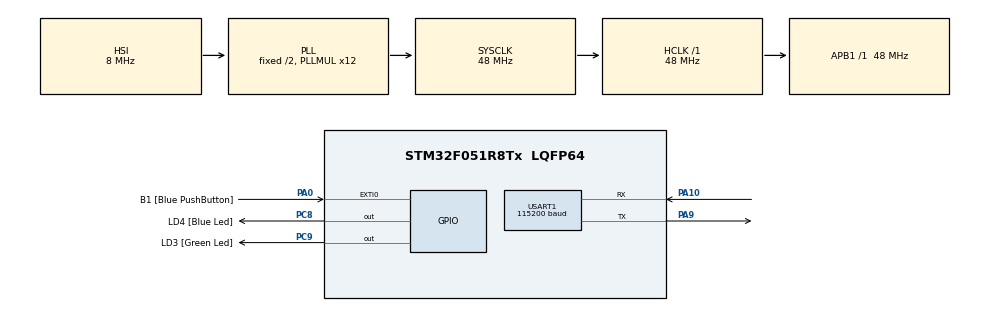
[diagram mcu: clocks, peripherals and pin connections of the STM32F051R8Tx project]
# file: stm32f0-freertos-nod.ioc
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FREERTOS.Mutexes01=UartMutex,Dynamic,NULL,Available
FREERTOS.Queues01=ButtonQueue,4,uint8_t,0,Dynamic,NULL,NULL
FREERTOS.Tasks01=BlueTask,24,128,StartBlueTask,Default,NULL,Dynamic,NULL,NULL;GreenTask,24,128,StartGreenTask,Default,NULL,Dynamic,NULL,NULL;ButtonTask,32,128,StartButtonTask,Default,NULL,Dynamic,NULL,NULL
FREERTOS.configTOTAL_HEAP_SIZE=3000
Mcu.Family=STM32F0
Mcu.Name=STM32F051R8Tx
Mcu.Package=LQFP64
NVIC.TIM14_IRQn=true\:3\:0\:false\:false\:true\:false\:false\:true\:true
NVIC.TimeBase=TIM14_IRQn
NVIC.TimeBaseIP=TIM14
PA0.GPIO_Label=B1 [Blue PushButton]
PA0.GPIO_ModeDefaultEXTI=GPIO_MODE_EVT_RISING
PA0.Signal=GPXTI0
PA10.Mode=Asynchronous
PA10.Signal=USART1_RX
PA13.GPIO_Label=SWDIO
PA13.Mode=Serial_Wire
PA13.Signal=SYS_SWDIO
PA14.GPIO_Label=SWCLK
PA14.Mode=Serial_Wire
PA14.Signal=SYS_SWCLK
PA9.Mode=Asynchronous
PA9.Signal=USART1_TX
PC8.GPIO_Label=LD4 [Blue Led]
PC8.Signal=GPIO_Output
PC9.GPIO_Label=LD3 [Green Led]
PC9.Signal=GPIO_Output
ProjectManager.HeapSize=0x100
ProjectManager.StackSize=0x400
ProjectManager.TargetToolchain=STM32CubeIDE
RCC.AHBFreq_Value=48000000
RCC.APB1Freq_Value=48000000
RCC.APB1TimFreq_Value=48000000
RCC.HCLKFreq_Value=48000000
RCC.PLLMUL=RCC_PLL_MUL12
RCC.SYSCLKFreq_VALUE=48000000
RCC.SYSCLKSource=RCC_SYSCLKSOURCE_PLLCLK
USART1.BaudRate=115200
USART1.VirtualMode-Asynchronous=VM_ASYNC
VP_FREERTOS_VS_CMSIS_V2.Mode=CMSIS_V2
VP_SYS_VS_tim14.Mode=TIM14
board=STM32F0DISCOVERY

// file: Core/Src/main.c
/* USER CODE BEGIN Header */
/**
  ******************************************************************************
  * @file           : main.c
  * @brief          : Main program body
  ******************************************************************************
  * @attention
  *
  * Copyright (c) 2026 STMicroelectronics.
  * All rights reserved.
  *
  * This software is licensed under terms that can be found in the LICENSE file
  * in the root directory of this software component.
  * If no LICENSE file comes with this software, it is provided AS-IS.
  *
  ******************************************************************************
  */
/* USER CODE END Header */
#include "main.h"
#include "cmsis_os.h"

/* USER CODE BEGIN Includes */
#include <string.h>
/* USER CODE END Includes */

UART_HandleTypeDef huart1;

/* Definitions for BlueTask */
osThreadId_t BlueTaskHandle;
const osThreadAttr_t BlueTask_attributes = {
  .name = "BlueTask",
  .stack_size = 128 * 4,
  .priority = (osPriority_t) osPriorityNormal,
};
/* Definitions for GreenTask */
osThreadId_t GreenTaskHandle;
const osThreadAttr_t GreenTask_attributes = {
  .name = "GreenTask",
  .stack_size = 128 * 4,
  .priority = (osPriority_t) osPriorityNormal,
};
/* Definitions for ButtonTask */
osThreadId_t ButtonTaskHandle;
const osThreadAttr_t ButtonTask_attributes = {
  .name = "ButtonTask",
  .stack_size = 128 * 4,
  .priority = (osPriority_t) osPriorityAboveNormal,
};
/* Definitions for ButtonQueue */
osMessageQueueId_t ButtonQueueHandle;
const osMessageQueueAttr_t ButtonQueue_attributes = {
  .name = "ButtonQueue"
};
/* Definitions for UartMutex */
osMutexId_t UartMutexHandle;
const osMutexAttr_t UartMutex_attributes = {
  .name = "UartMutex"
};

void SystemClock_Config(void);
static void MX_GPIO_Init(void);
static void MX_USART1_UART_Init(void);
void StartBlueTask(void *argument);
void StartGreenTask(void *argument);
void StartButtonTask(void *argument);

/* USER CODE BEGIN 0 */
void log_msg(const char *text)
{
  osMutexAcquire(UartMutexHandle, osWaitForever);   // anahtarı al
  HAL_UART_Transmit(&huart1, (uint8_t *)text, strlen(text), 100);
  osMutexRelease(UartMutexHandle);                  // anahtarı geri ver
}
/* USER CODE END 0 */

int main(void)
{

  /* MCU Configuration--------------------------------------------------------*/

  /* Reset of all peripherals, Initializes the Flash interface and the Systick. */
  HAL_Init();

  /* Configure the system clock */
  SystemClock_Config();

  /* Initialize all configured peripherals */
  MX_GPIO_Init();
  MX_USART1_UART_Init();

  /* Init scheduler */
  osKernelInitialize();
  /* Create the mutex(es) */
  /* creation of UartMutex */
  UartMutexHandle = osMutexNew(&UartMutex_attributes);

  /* Create the queue(s) */
  /* creation of ButtonQueue */
  ButtonQueueHandle = osMessageQueueNew (4, sizeof(uint8_t), &ButtonQueue_attributes);

  /* Create the thread(s) */
  /* creation of BlueTask */
  BlueTaskHandle = osThreadNew(StartBlueTask, NULL, &BlueTask_attributes);

  /* creation of GreenTask */
  GreenTaskHandle = osThreadNew(StartGreenTask, NULL, &GreenTask_attributes);

  /* creation of ButtonTask */
  ButtonTaskHandle = osThreadNew(StartButtonTask, NULL, &ButtonTask_attributes);

  /* Start scheduler */
  osKernelStart();

  /* We should never get here as control is now taken by the scheduler */

  /* Infinite loop */
  while (1)
  {

  }
}

void SystemClock_Config(void)
{
  RCC_OscInitTypeDef RCC_OscInitStruct = {0};
  RCC_ClkInitTypeDef RCC_ClkInitStruct = {0};
  RCC_PeriphCLKInitTypeDef PeriphClkInit = {0};

  /** Initializes the RCC Oscillators according to the specified parameters
  * in the RCC_OscInitTypeDef structure.
  */
  RCC_OscInitStruct.OscillatorType = RCC_OSCILLATORTYPE_HSI;
  RCC_OscInitStruct.HSIState = RCC_HSI_ON;
  RCC_OscInitStruct.HSICalibrationValue = RCC_HSICALIBRATION_DEFAULT;
  RCC_OscInitStruct.PLL.PLLState = RCC_PLL_ON;
  RCC_OscInitStruct.PLL.PLLSource = RCC_PLLSOURCE_HSI;
  RCC_OscInitStruct.PLL.PLLMUL = RCC_PLL_MUL12;
  RCC_OscInitStruct.PLL.PREDIV = RCC_PREDIV_DIV1;
  if (HAL_RCC_OscConfig(&RCC_OscInitStruct) != HAL_OK)
  {
    Error_Handler();
  }

  /** Initializes the CPU, AHB and APB buses clocks
  */
  RCC_ClkInitStruct.ClockType = RCC_CLOCKTYPE_HCLK|RCC_CLOCKTYPE_SYSCLK
                              |RCC_CLOCKTYPE_PCLK1;
  RCC_ClkInitStruct.SYSCLKSource = RCC_SYSCLKSOURCE_PLLCLK;
  RCC_ClkInitStruct.AHBCLKDivider = RCC_SYSCLK_DIV1;
  RCC_ClkInitStruct.APB1CLKDivider = RCC_HCLK_DIV1;

  if (HAL_RCC_ClockConfig(&RCC_ClkInitStruct, FLASH_LATENCY_1) != HAL_OK)
  {
    Error_Handler();
  }
  PeriphClkInit.PeriphClockSelection = RCC_PERIPHCLK_USART1;
  PeriphClkInit.Usart1ClockSelection = RCC_USART1CLKSOURCE_PCLK1;
  if (HAL_RCCEx_PeriphCLKConfig(&PeriphClkInit) != HAL_OK)
  {
    Error_Handler();
  }
}

static void MX_USART1_UART_Init(void)
{

  huart1.Instance = USART1;
  huart1.Init.BaudRate = 115200;
  huart1.Init.WordLength = UART_WORDLENGTH_8B;
  huart1.Init.StopBits = UART_STOPBITS_1;
  huart1.Init.Parity = UART_PARITY_NONE;
  huart1.Init.Mode = UART_MODE_TX_RX;
  huart1.Init.HwFlowCtl = UART_HWCONTROL_NONE;
  huart1.Init.OverSampling = UART_OVERSAMPLING_16;
  huart1.Init.OneBitSampling = UART_ONE_BIT_SAMPLE_DISABLE;
  huart1.AdvancedInit.AdvFeatureInit = UART_ADVFEATURE_NO_INIT;
  if (HAL_UART_Init(&huart1) != HAL_OK)
  {
    Error_Handler();
  }

}

static void MX_GPIO_Init(void)
{
  GPIO_InitTypeDef GPIO_InitStruct = {0};

  /* GPIO Ports Clock Enable */
  __HAL_RCC_GPIOA_CLK_ENABLE();
  __HAL_RCC_GPIOC_CLK_ENABLE();

  /*Configure GPIO pin Output Level */
  HAL_GPIO_WritePin(GPIOC, LD4_Pin|LD3_Pin, GPIO_PIN_RESET);

  /*Configure GPIO pin : B1_Pin */
  GPIO_InitStruct.Pin = B1_Pin;
  GPIO_InitStruct.Mode = GPIO_MODE_EVT_RISING;
  GPIO_InitStruct.Pull = GPIO_NOPULL;
  HAL_GPIO_Init(B1_GPIO_Port, &GPIO_InitStruct);

  /*Configure GPIO pins : LD4_Pin LD3_Pin */
  GPIO_InitStruct.Pin = LD4_Pin|LD3_Pin;
  GPIO_InitStruct.Mode = GPIO_MODE_OUTPUT_PP;
  GPIO_InitStruct.Pull = GPIO_NOPULL;
  GPIO_InitStruct.Speed = GPIO_SPEED_FREQ_LOW;
  HAL_GPIO_Init(GPIOC, &GPIO_InitStruct);

}

void StartBlueTask(void *argument)
{
  /* USER CODE BEGIN 5 */
	uint32_t period = 500;
	uint8_t msg;
  /* Infinite loop */
  for(;;)
  {
	  if (osMessageQueueGet(ButtonQueueHandle, &msg, NULL, period)==osOK) {

		  if (period ==500 ) {
			period=100;
			log_msg("Blue: fast\r\n");
		}else {
			period=500;
			log_msg("Blue: slow\r\n");
		}
	}else {
		HAL_GPIO_TogglePin(GPIOC, GPIO_PIN_8);
	}

  }
  /* USER CODE END 5 */
}

void StartGreenTask(void *argument)
{
  /* USER CODE BEGIN StartGreenTask */
  /* Infinite loop */
  for(;;)
  {
	  HAL_GPIO_TogglePin(GPIOC, GPIO_PIN_9);
	  osDelay(200);
  }
  /* USER CODE END StartGreenTask */
}

void StartButtonTask(void *argument)
{
  /* USER CODE BEGIN StartButtonTask */
	uint8_t onceki = 0;
  /* Infinite loop */
  for(;;)
  {

	   uint8_t simdi = HAL_GPIO_ReadPin(GPIOA, GPIO_PIN_0);

	    if (simdi == 1 && onceki == 0)
	    {
	    	 log_msg("Button pressed\r\n");
	      uint8_t msg = 1;
	      osMessageQueuePut(ButtonQueueHandle, &msg, 0, 0);
	    }

	    onceki = simdi;
	    osDelay(20);
  }
  /* USER CODE END StartButtonTask */
}

void HAL_TIM_PeriodElapsedCallback(TIM_HandleTypeDef *htim)
{
  if (htim->Instance == TIM14)
  {
    HAL_IncTick();
  }
}

void Error_Handler(void)
{
  __disable_irq();
  while (1)
  {
  }
}
